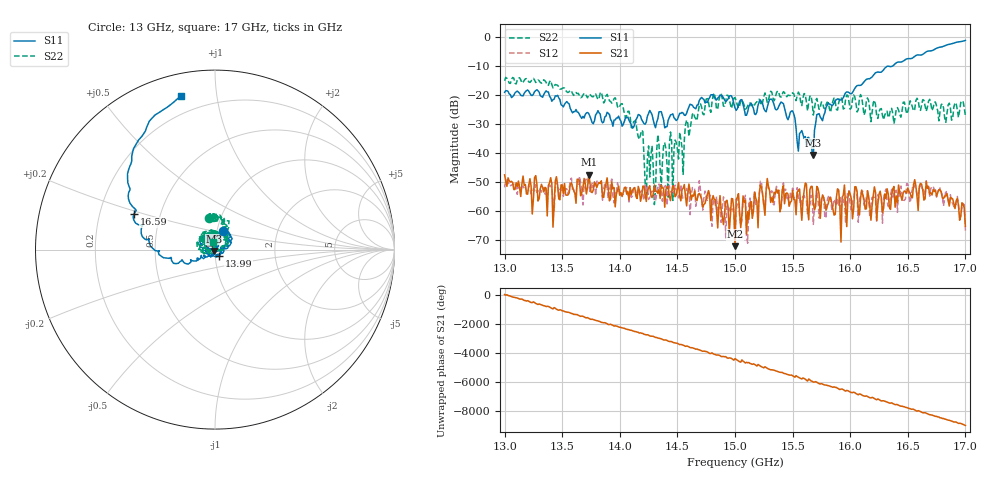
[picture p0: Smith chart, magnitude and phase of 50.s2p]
!Keysight Technologies,P9374A,MY57211807,A.19.30.04
!Date: Friday, May 01, 2026 14:15:22
!Correction: S11(C  2-Port  )
!S21(C  2-Port  )
!S12(C  2-Port  )
!S22(C  2-Port  )
!S2P File: Measurements: S11, S21, S12, S22:
# Hz S  RI  R 50
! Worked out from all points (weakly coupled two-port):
!   401 points, 13 GHz to 17 GHz, reference 50 ohm
!   highest |S21| = -47.43 dB at 13.73 GHz (marker M1); lowest = -72.1 dB at 15 GHz (marker M2)
!   lowest |S11| = -40.6 dB at 15.68 GHz (marker M3), VSWR 1.02, Z = 49.4 - j0.716 ohm
!   |S11| at or under -10 dB: start of sweep to 16.37 GHz
!   |S22| runs from -57.7 to -13.9 dB; largest |S21 - S12| = 0.0022
!   S11 on the Smith chart (normalised r, x): 13 GHz: 1.06, +0.22; 13.99 GHz: 1.04, -0.08; 16.59 GHz: 0.35, +0.19; 17 GHz: 0.11, +0.80
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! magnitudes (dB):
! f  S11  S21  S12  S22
! 13 GHz  -19.0  -47.5  -51.8  -15.0
! 13.37 GHz  -18.9  -61.6  -56.8  -16.6
! 13.67 GHz  -28.0  -53.6  -52.3  -20.7
! 13.73 GHz  -26.3  -47.4  -50.2  -19.9
! 13.99 GHz  -27.3  -51.3  -51.9  -24.5
! 14.18 GHz  -27.2  -56.6  -53.4  -33.7
! 14.24 GHz  -27.2  -53.0  -51.4  -41.3
! 14.34 GHz  -25.8  -52.4  -50.7  -36.9
! 14.44 GHz  -26.8  -56.4  -53.4  -32.7
! 14.76 GHz  -22.6  -54.2  -56.5  -21.2
! 15 GHz  -24.3  -72.1  -68.5  -20.8
! 15.12 GHz  -23.9  -62.8  -57.6  -22.9
! 15.29 GHz  -22.7  -51.4  -52.1  -22.0
! 15.41 GHz  -22.7  -52.6  -54.1  -19.8
! 15.67 GHz  -40.1  -51.5  -55.7  -22.6
! 15.68 GHz  -40.6  -57.1  -64.6  -26.9
! 15.71 GHz  -26.7  -51.5  -52.2  -21.1
! 15.81 GHz  -22.8  -57.3  -54.9  -22.7
! 16.34 GHz  -10.1  -58.6  -57.9  -27.0
! 16.59 GHz  -6.1  -59.7  -54.8  -21.8
! 16.78 GHz  -3.5  -52.6  -52.0  -25.5
! 17 GHz  -1.2  -65.2  -66.7  -27.0
